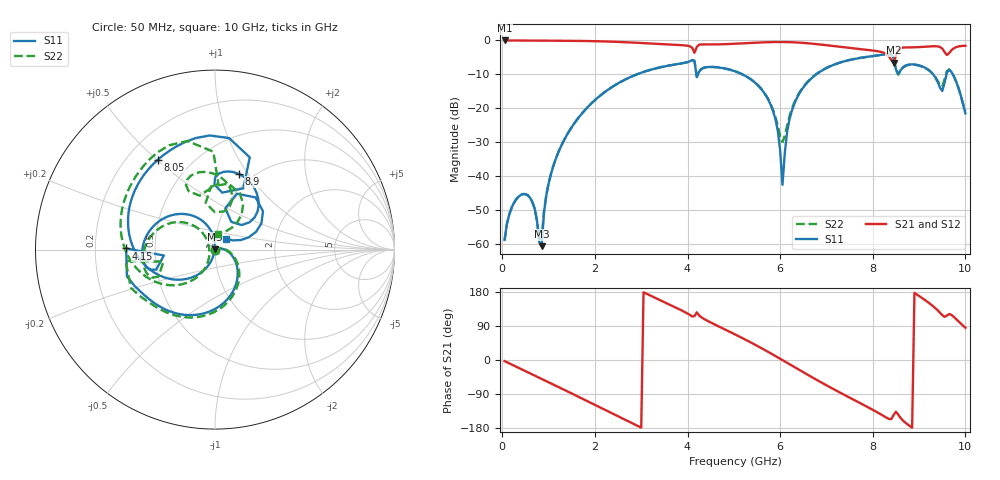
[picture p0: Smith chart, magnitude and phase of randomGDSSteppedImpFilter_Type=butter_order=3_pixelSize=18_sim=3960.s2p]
! freq	dB(S11)	phase(S11)	dB(S12)	phase(S12)
!  dB(S21)	phase(S21)	dB(S22)	phase(S22)
!S-par simulation data
#  GHz  S  DB  R 50
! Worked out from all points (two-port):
!   200 points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, 50 MHz to 10 GHz, reference 50 ohm
!   highest |S21| = 0.00 dB at 50 MHz (marker M1); lowest = -6.6 dB at 8.45 GHz (marker M2)
!   |S21| within 3 dB of the highest: start of sweep to 4.129 GHz; 4.168 GHz to 8.02 GHz (3.852 GHz wide, 63.2 % of centre) (the widest 2 of 4)
!   lowest |S11| = -60.7 dB at 850 MHz (marker M3), VSWR 1.00, Z = 50 + j0.0796 ohm
!   |S11| at or under -10 dB: start of sweep to 2.908 GHz; 5.183 GHz to 6.781 GHz (1.598 GHz wide, 26.7 % of centre); 9.728 GHz to end of sweep (the widest 3 of 5)
!   |S22| runs from -58.9 to -3.9 dB; largest |S21 - S12| = 0
!   S11 on the Smith chart (normalised r, x): 50 MHz: 1.00, -0.00; 4.15 GHz: 0.34, +0.01; 8.05 GHz: 0.33, +0.51; 8.9 GHz: 0.87, +0.91; 10 GHz: 1.12, +0.13
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0.05  -58.84 -78.7  -0.00 -3.0  -0.00 -3.0  -58.89 -79.1
0.5  -45.33 -117.6  -0.04 -29.4  -0.04 -29.4  -45.36 -118.7
0.85  -60.69 59.4  -0.06 -49.9  -0.06 -49.9  -58.53 85.9
0.95  -45.76 35.9  -0.07 -55.8  -0.07 -55.8  -45.59 42.7
1.1  -37.12 25.6  -0.08 -64.6  -0.08 -64.6  -37.06 29.6
1.75  -21.07 -14.8  -0.15 -103.4  -0.15 -103.4  -21.05 -11.7
2.6  -11.91 -66.9  -0.49 -154.6  -0.49 -154.6  -11.90 -62.9
3.4  -7.96 -114.5  -1.04 158.3  -1.04 158.3  -7.95 -109.2
4.15  -6.11 179.3  -3.63 115.8  -3.63 115.8  -5.99 -172.7
5.05  -9.22 152.0  -0.96 66.1  -0.96 66.1  -9.21 162.8
5.8  -19.13 102.6  -0.49 17.3  -0.49 17.3  -18.90 126.5
5.95  -26.72 93.1  -0.46 6.9  -0.46 6.9  -25.27 136.1
6.05  -42.59 126.6  -0.46 -0.2  -0.46 -0.2  -29.95 -176.4
6.25  -20.86 -112.0  -0.52 -14.5  -0.52 -14.5  -20.25 -118.4
6.7  -10.88 -144.4  -0.96 -46.3  -0.96 -46.3  -10.78 -136.8
8.05  -4.53 122.3  -3.06 -134.8  -3.06 -134.8  -4.53 141.3
8.35  -3.92 92.7  -4.70 -155.7  -4.70 -155.7  -3.95 113.9
8.45  -5.21 69.4  -6.58 -145.1  -6.58 -145.1  -5.27 91.0
8.9  -7.10 72.4  -2.02 177.2  -2.02 177.2  -7.18 98.5
9.5  -14.93 59.5  -2.39 118.4  -2.39 118.4  -13.62 90.2
9.7  -9.31 38.7  -2.87 118.9  -2.87 118.9  -9.27 66.2
10  -21.52 45.3  -1.57 84.9  -1.57 84.9  -20.84 78.2
